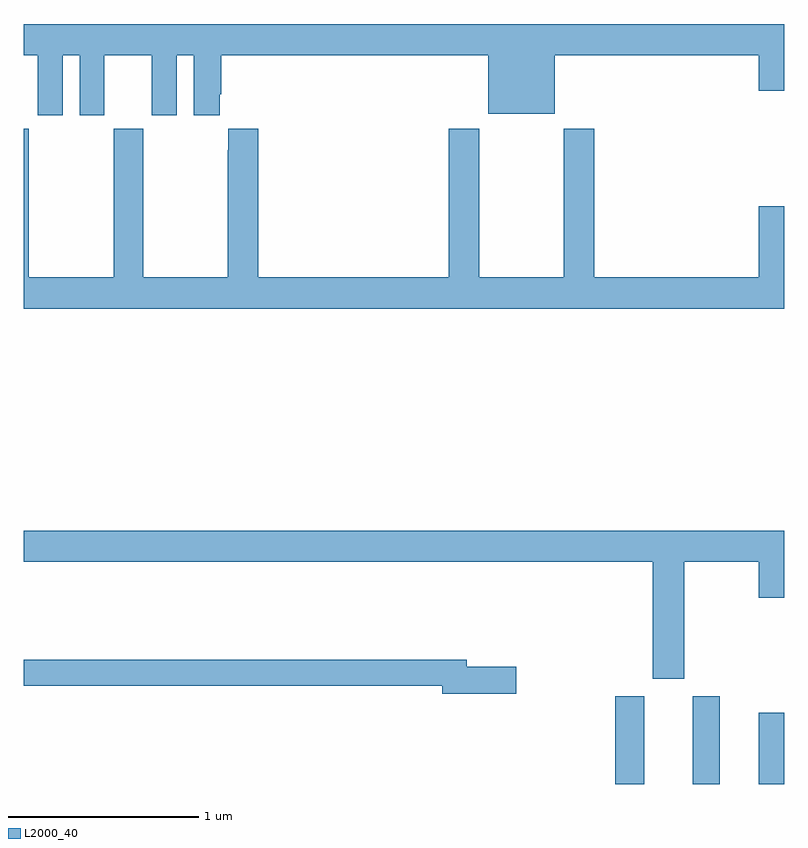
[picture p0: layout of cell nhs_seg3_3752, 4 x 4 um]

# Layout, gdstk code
import gdstk
lib = gdstk.Library(unit=1e-6, precision=1e-09)
def R(c, l, rs):  # rectangles x0, y0, x1, y1
    for r in rs: c.add(gdstk.rectangle(r[:2], r[2:], *l))
def P(c, l, *ps):  # polygons
    for p in ps: c.add(gdstk.Polygon(p, *l))
L2000_40 = (2000, 40)

nhs_seg3_3752 = lib.new_cell('nhs_seg3_3752')
R(nhs_seg3_3752, L2000_40, [(308.111,714.4,308.263,714.862), (308.519,714.4,308.659,714.862), (308.864,714.4,309,714.775)])
P(nhs_seg3_3752, L2000_40, [(305.206,718.232),(305.294,718.232),(305.294,717.915),(305.425,717.915),(305.425,718.232),(305.675,718.232),(305.675,717.915),(305.806,717.915),(305.806,718.232),(305.894,718.232),(305.894,717.915),(306.031,717.915),(306.031,718.027),(306.038,718.027),(306.038,718.232),(307.442,718.232),(307.442,717.923),(307.792,717.923),(307.792,718.232),(308.864,718.232),(308.864,718.044),(309,718.044),(309,718.396),(305,718.396),(305,718.232),(305.075,718.232),(305.075,717.915),(305.206,717.915)],
  [(309,717.439),(308.864,717.439),(308.864,717.064),(308,717.064),(308,717.844),(307.84,717.844),(307.84,717.064),(307.395,717.064),(307.395,717.844),(307.235,717.844),(307.235,717.064),(306.233,717.064),(306.233,717.844),(306.077,717.844),(306.077,717.731),(306.073,717.731),(306.073,717.064),(305.628,717.064),(305.628,717.844),(305.473,717.844),(305.473,717.064),(305.028,717.064),(305.028,717.844),(305,717.844),(305,716.9),(309,716.9)],
  [(308.473,715.568),(308.864,715.568),(308.864,715.38),(309,715.38),(309,715.732),(305,715.732),(305,715.568),(308.309,715.568),(308.309,714.954),(308.473,714.954)],
  [(307.591,715.016),(307.33,715.016),(307.33,715.052),(305,715.052),(305,714.916),(307.202,714.916),(307.202,714.874),(307.591,714.874)])

lib.write_gds('nhs_seg3_3752.gds')
